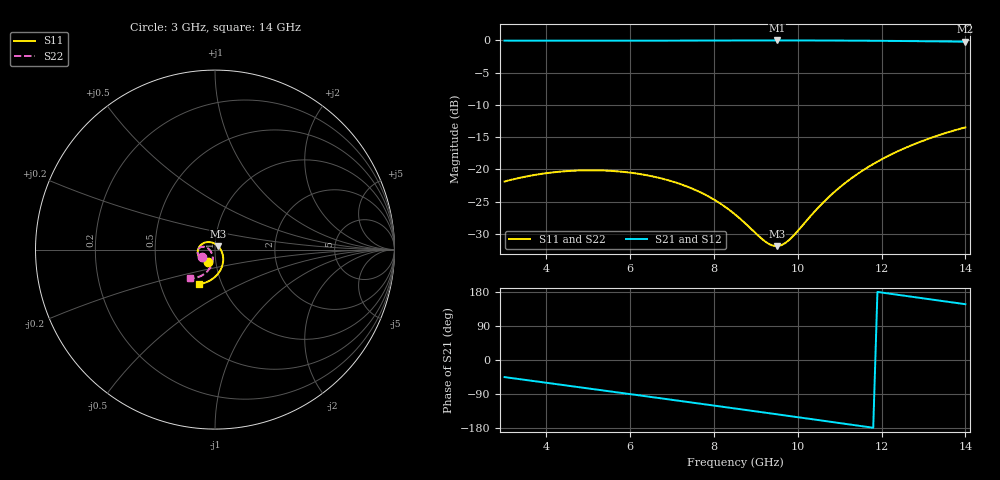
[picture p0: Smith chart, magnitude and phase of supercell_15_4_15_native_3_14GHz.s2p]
! Touchstone file exported from HFSS 2026.1.0
!  File:  C:/Users/urbaneja/Ansys/15-4-15_super_cell.aedt
!  Generated:  02:48:17 PM Aug 12, 2026
!  Design:  HFSSDesign_Supercell_15_4_15
!  Project:  15-4-15_super_cell
!  Setup:  Setup1
!  Solution:  Sweep_16_2_16_fine
! Variables:
!  stub_length = 12um
# GHz S RI R 50.000000
! Terminal data exported
! Port[1] = Port1
! Port[2] = Port2
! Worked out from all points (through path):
!   111 points, 3 GHz to 14 GHz, reference 50 ohm
!   highest |S21| = 0.00 dB at 9.5 GHz (marker M1); lowest = -0.2 dB at 14 GHz (marker M2)
!   group delay of S21, straight-line fit = 42.4 ps
!   lowest |S11| = -31.9 dB at 9.5 GHz (marker M3), VSWR 1.05, Z = 51.9 + j1.81 ohm
!   |S11| at or under -10 dB: start of sweep to end of sweep
!   |S22| runs from -31.9 to -13.5 dB; largest |S21 - S12| = 0.00011
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3  -0.04 -0.07  0.703 -0.7066  0.703 -0.7066  -0.0702 -0.0396
! Gamma 1.19275398148058E-20 2664.13816131416 1.33591917897133E-30 2520.11647558328
! Port Impedance 50 0 50 0
4  -0.0725 -0.0591  0.4958 -0.8634  0.4958 -0.8634  -0.0876 -0.0328
4.9  -0.0916 -0.0359  0.2808 -0.9547  0.2808 -0.9547  -0.0965 -0.0194
5.8  -0.0957 -0.0064  0.0503 -0.9941  0.0503 -0.9941  -0.0959 -0.00331
6.7  -0.0831 0.0214  -0.1839 -0.9792  -0.1839 -0.9792  -0.0852 0.0102
7.2  -0.0695 0.033  -0.3112 -0.9472  -0.3112 -0.9472  -0.0755 0.0147
7.7  -0.0522 0.0401  -0.4336 -0.8987  -0.4336 -0.8987  -0.0639 0.0159
8.1  -0.0366 0.042  -0.5267 -0.8482  -0.5267 -0.8482  -0.0539 0.0142
8.5  -0.0202 0.04  -0.6142 -0.7879  -0.6142 -0.7879  -0.0437 0.00979
9.2  0.0078 0.0268  -0.7505 -0.6603  -0.7505 -0.6603  -0.0276 -0.00432
9.4  0.0151 0.0208  -0.7848 -0.6192  -0.7848 -0.6192  -0.0237 -0.00982
9.5  0.0185 0.0174  -0.8012 -0.5979  -0.8012 -0.5979  -0.022 -0.0128
9.6  0.0218 0.0138  -0.8169 -0.5761  -0.8169 -0.5761  -0.0203 -0.0159
9.8  0.0279 0.00589  -0.8467 -0.5314  -0.8467 -0.5314  -0.0174 -0.0226
10.4  0.0414 -0.0226  -0.9205 -0.3878  -0.9205 -0.3878  -0.0127 -0.0454
10.8  0.0454 -0.0447  -0.9561 -0.2861  -0.9561 -0.2861  -0.0134 -0.0623
11.2  0.0448 -0.0683  -0.9801 -0.1809  -0.9801 -0.1809  -0.0175 -0.0798
11.7  0.0372 -0.0985  -0.9933 -0.047  -0.9933 -0.047  -0.0277 -0.1015
12.2  0.0216 -0.1275  -0.9878 0.0871  -0.9878 0.0871  -0.0436 -0.1217
12.6  0.00371 -0.1484  -0.97 0.1925  -0.97 0.1925  -0.0601 -0.1357
13.1  -0.0248 -0.1702  -0.9317 0.3199  -0.9317 0.3199  -0.085 -0.1495
14  -0.0891 -0.1923  -0.8217 0.5291  -0.8217 0.5291  -0.1382 -0.1607
